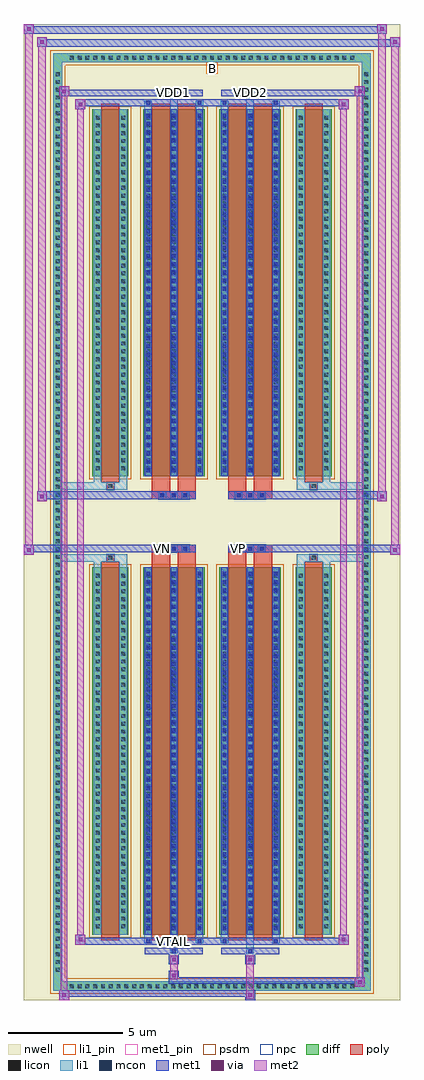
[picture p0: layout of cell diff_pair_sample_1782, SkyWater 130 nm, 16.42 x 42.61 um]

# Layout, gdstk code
import gdstk
lib = gdstk.Library(unit=1e-6, precision=5e-09)
def R(c, l, rs):  # rectangles x0, y0, x1, y1
    for r in rs: c.add(gdstk.rectangle(r[:2], r[2:], *l))
def A(c, l, x, y, w, h, nx, ny, dx, dy):  # array of equal rectangles
    R(c, l, [(x+i*dx, y+j*dy, x+i*dx+w, y+j*dy+h) for i in range(nx) for j in range(ny)])
def P(c, l, *ps):  # polygons
    for p in ps: c.add(gdstk.Polygon(p, *l))
nwell = (64, 20)
diff = (65, 20)
poly = (66, 20)
licon = (66, 44)
li1_pin = (67, 16)
li1 = (67, 20)
mcon = (67, 44)
met1_pin = (68, 16)
met1 = (68, 20)
via = (68, 44)
met2 = (69, 20)
psdm = (94, 20)
npc = (95, 20)

diff_pair_sample_1782 = lib.new_cell('diff_pair_sample_1782')
R(diff_pair_sample_1782, nwell, [(-8.21,-20.87,8.21,21.74), (-5.53,-19.06,-0.01,-0.8), (0.01,-19.06,5.53,-0.8), (-5.53,0.8,-0.01,19.06), (0.01,0.8,5.53,19.06)])
A(diff_pair_sample_1782, diff, -6.325, -20.47, 0.41, 0.41, 37, 2, 0.34, 40.53)
A(diff_pair_sample_1782, diff, -6.94, -19.755, 0.41, 0.41, 1, 116, 0, 0.34)
A(diff_pair_sample_1782, diff, 6.53, -19.755, 0.41, 0.41, 1, 116, 0, 0.34)
R(diff_pair_sample_1782, diff, [(-6.325,-20.47,6.325,-20.06), (-6.94,-19.755,-6.53,19.755), (6.53,-19.755,6.94,19.755), (-5.22,-18.015,-3.65,-1.985), (-3.01,-18.015,-0.32,-1.985), (0.32,-18.015,3.01,-1.985), (3.65,-18.015,5.22,-1.985), (-5.22,1.985,-3.65,18.015), (-3.01,1.985,-0.32,18.015), (0.32,1.985,3.01,18.015), (3.65,1.985,5.22,18.015), (-6.325,20.06,6.325,20.47)])
P(diff_pair_sample_1782, diff, [(6.94,20.47),(-6.94,20.47),(-6.94,-20.06),(-6.53,-20.06),(-6.53,20.06),(6.53,20.06),(6.53,-20.06),(-6.53,-20.06),(-6.94,-20.06),(-6.94,-20.47),(6.94,-20.47)])
A(diff_pair_sample_1782, poly, -2.33, -1.33, 0.33, 0.33, 3, 2, 0.5, 2.33)
A(diff_pair_sample_1782, poly, 1, -1.33, 0.33, 0.33, 3, 2, 0.5, 2.33)
R(diff_pair_sample_1782, poly, [(-4.83,-18.265,-4.04,-1.735), (-2.62,-18.265,-1.83,-1.735), (-1.5,-18.265,-0.71,-1.735), (0.71,-18.265,1.5,-1.735), (1.83,-18.265,2.62,-1.735), (4.04,-18.265,4.83,-1.735), (-4.6,-1.735,-4.27,-1.405), (-4.6,-1.735,-4.27,-1.405), (-2.62,-1.735,-1.83,-1.33), (-1.5,-1.735,-0.71,-1.33), (0.71,-1.735,1.5,-1.33), (1.83,-1.735,2.62,-1.33), (4.27,-1.735,4.6,-1.405), (4.27,-1.735,4.6,-1.405), (-2.62,-1.33,-0.71,-1), (0.71,-1.33,2.62,-1), (-2.62,1,-0.71,1.33), (0.71,1,2.62,1.33), (-2.62,1.33,-1.83,1.735), (-1.5,1.33,-0.71,1.735), (0.71,1.33,1.5,1.735), (1.83,1.33,2.62,1.735), (-4.6,1.405,-4.27,1.735), (-4.6,1.405,-4.27,1.735), (4.27,1.405,4.6,1.735), (4.27,1.405,4.6,1.735), (-4.83,1.735,-4.04,18.265), (-2.62,1.735,-1.83,18.265), (-1.5,1.735,-0.71,18.265), (0.71,1.735,1.5,18.265), (1.83,1.735,2.62,18.265), (4.04,1.735,4.83,18.265)])
A(diff_pair_sample_1782, licon, -6.205, -20.35, 0.17, 0.17, 37, 2, 0.34, 40.53)
A(diff_pair_sample_1782, licon, -6.82, -19.635, 0.17, 0.17, 1, 116, 0, 0.34)
A(diff_pair_sample_1782, licon, 6.65, -19.635, 0.17, 0.17, 1, 116, 0, 0.34)
A(diff_pair_sample_1782, licon, -5.08, -17.735, 0.17, 0.17, 1, 46, 0, 0.34)
A(diff_pair_sample_1782, licon, -3.96, -17.735, 0.17, 0.17, 1, 46, 0, 0.34)
A(diff_pair_sample_1782, licon, -2.87, -17.735, 0.17, 0.17, 3, 46, 1.12, 0.34)
A(diff_pair_sample_1782, licon, 0.46, -17.735, 0.17, 0.17, 3, 46, 1.12, 0.34)
A(diff_pair_sample_1782, licon, 3.79, -17.735, 0.17, 0.17, 1, 46, 0, 0.34)
A(diff_pair_sample_1782, licon, 4.91, -17.735, 0.17, 0.17, 1, 46, 0, 0.34)
A(diff_pair_sample_1782, licon, -2.25, -1.25, 0.17, 0.17, 3, 2, 0.5, 2.33)
A(diff_pair_sample_1782, licon, 1.08, -1.25, 0.17, 0.17, 3, 2, 0.5, 2.33)
A(diff_pair_sample_1782, licon, -5.08, 2.265, 0.17, 0.17, 1, 46, 0, 0.34)
A(diff_pair_sample_1782, licon, -3.96, 2.265, 0.17, 0.17, 1, 46, 0, 0.34)
A(diff_pair_sample_1782, licon, -2.87, 2.265, 0.17, 0.17, 3, 46, 1.12, 0.34)
A(diff_pair_sample_1782, licon, 0.46, 2.265, 0.17, 0.17, 3, 46, 1.12, 0.34)
A(diff_pair_sample_1782, licon, 3.79, 2.265, 0.17, 0.17, 1, 46, 0, 0.34)
A(diff_pair_sample_1782, licon, 4.91, 2.265, 0.17, 0.17, 1, 46, 0, 0.34)
R(diff_pair_sample_1782, licon, [(-4.52,-1.655,-4.35,-1.485), (4.35,-1.655,4.52,-1.485), (-4.52,1.485,-4.35,1.655), (4.35,1.485,4.52,1.655)])
R(diff_pair_sample_1782, li1_pin, [(-0.25,19.56,0.25,20.06)])
A(diff_pair_sample_1782, li1, -6.285, -20.43, 0.33, 0.33, 37, 2, 0.34, 40.53)
A(diff_pair_sample_1782, li1, -6.9, -19.715, 0.33, 0.33, 1, 116, 0, 0.34)
A(diff_pair_sample_1782, li1, 6.57, -19.715, 0.33, 0.33, 1, 116, 0, 0.34)
A(diff_pair_sample_1782, li1, -2.95, -18.015, 0.33, 16.03, 3, 2, 1.12, 20)
A(diff_pair_sample_1782, li1, 0.38, -18.015, 0.33, 16.03, 3, 2, 1.12, 20)
A(diff_pair_sample_1782, li1, -2.87, -17.825, 0.17, 0.17, 3, 44, 1.12, 0.36)
A(diff_pair_sample_1782, li1, -2.87, -17.825, 0.17, 15.65, 3, 2, 1.12, 20)
A(diff_pair_sample_1782, li1, 0.46, -17.825, 0.17, 0.17, 3, 44, 1.12, 0.36)
A(diff_pair_sample_1782, li1, 0.46, -17.825, 0.17, 15.65, 3, 2, 1.12, 20)
A(diff_pair_sample_1782, li1, -5.16, -17.815, 0.33, 0.33, 1, 46, 0, 0.34)
A(diff_pair_sample_1782, li1, -4.04, -17.815, 0.33, 0.33, 1, 46, 0, 0.34)
A(diff_pair_sample_1782, li1, -2.95, -17.815, 0.33, 0.33, 3, 46, 1.12, 0.34)
A(diff_pair_sample_1782, li1, 0.38, -17.815, 0.33, 0.33, 3, 46, 1.12, 0.34)
A(diff_pair_sample_1782, li1, 3.71, -17.815, 0.33, 0.33, 1, 46, 0, 0.34)
A(diff_pair_sample_1782, li1, 4.83, -17.815, 0.33, 0.33, 1, 46, 0, 0.34)
A(diff_pair_sample_1782, li1, -2.33, -1.33, 0.33, 0.33, 3, 2, 0.5, 2.33)
A(diff_pair_sample_1782, li1, 1, -1.33, 0.33, 0.33, 3, 2, 0.5, 2.33)
A(diff_pair_sample_1782, li1, -2.87, 2.175, 0.17, 0.17, 3, 44, 1.12, 0.36)
A(diff_pair_sample_1782, li1, 0.46, 2.175, 0.17, 0.17, 3, 44, 1.12, 0.36)
A(diff_pair_sample_1782, li1, -5.16, 2.185, 0.33, 0.33, 1, 46, 0, 0.34)
A(diff_pair_sample_1782, li1, -4.04, 2.185, 0.33, 0.33, 1, 46, 0, 0.34)
A(diff_pair_sample_1782, li1, -2.95, 2.185, 0.33, 0.33, 3, 46, 1.12, 0.34)
A(diff_pair_sample_1782, li1, 0.38, 2.185, 0.33, 0.33, 3, 46, 1.12, 0.34)
A(diff_pair_sample_1782, li1, 3.71, 2.185, 0.33, 0.33, 1, 46, 0, 0.34)
A(diff_pair_sample_1782, li1, 4.83, 2.185, 0.33, 0.33, 1, 46, 0, 0.34)
R(diff_pair_sample_1782, li1, [(-6.94,-20.47,-6.53,-20.06), (-6.94,-20.47,-6.53,-20.06), (-6.53,-20.47,6.53,-20.06), (6.53,-20.47,6.94,-20.06), (6.53,-20.47,6.94,-20.06), (-6.94,-20.06,-6.53,20.06), (6.53,-20.06,6.94,20.06), (-1.83,-18.82,-1.5,-18.015), (-1.75,-18.82,-1.58,-18.65), (1.5,-18.82,1.83,-18.015), (1.58,-18.82,1.75,-18.65), (-2.95,-18.39,-2.62,-18.015), (-2.87,-18.39,-2.7,-18.22), (-0.71,-18.39,-0.38,-18.015), (-0.63,-18.39,-0.46,-18.22), (0.38,-18.39,0.71,-18.015), (0.46,-18.39,0.63,-18.22), (2.62,-18.39,2.95,-18.015), (2.7,-18.39,2.87,-18.22), (-5.16,-18.015,-4.83,-1.985), (-4.04,-18.015,-3.71,-1.985), (3.71,-18.015,4.04,-1.985), (4.83,-18.015,5.16,-1.985), (-5.16,-1.985,-4.83,-1.405), (-4.04,-1.985,-3.71,-1.405), (3.71,-1.985,4.04,-1.405), (4.83,-1.985,5.16,-1.405), (-6.94,-1.735,-4.6,-1.405), (-5.16,-1.735,-4.6,-1.405), (-4.6,-1.735,-4.27,-1.405), (-4.27,-1.735,-3.71,-1.405), (3.71,-1.735,4.27,-1.405), (4.27,-1.735,4.6,-1.405), (4.27,-1.735,6.94,-1.405), (4.6,-1.735,5.16,-1.405), (-6.94,1.405,-4.6,1.735), (-5.16,1.405,-4.6,1.735), (-5.16,1.405,-4.83,1.985), (-4.6,1.405,-4.27,1.735), (-4.27,1.405,-3.71,1.735), (-4.04,1.405,-3.71,1.985), (3.71,1.405,4.27,1.735), (3.71,1.405,4.04,1.985), (4.27,1.405,4.6,1.735), (4.27,1.405,6.94,1.735), (4.6,1.405,5.16,1.735), (4.83,1.405,5.16,1.985), (-5.16,1.985,-4.83,18.015), (-4.04,1.985,-3.71,18.015), (3.71,1.985,4.04,18.015), (4.83,1.985,5.16,18.015), (-2.95,18.015,-2.62,18.39), (-1.83,18.015,-1.5,18.82), (-0.71,18.015,-0.38,18.39), (0.38,18.015,0.71,18.39), (1.5,18.015,1.83,18.82), (2.62,18.015,2.95,18.39), (-2.87,18.22,-2.7,18.39), (-0.63,18.22,-0.46,18.39), (0.46,18.22,0.63,18.39), (2.7,18.22,2.87,18.39), (-1.75,18.65,-1.58,18.82), (1.58,18.65,1.75,18.82), (-6.94,20.06,-6.53,20.47), (-6.94,20.06,-6.53,20.47), (-6.53,20.06,6.53,20.47), (6.53,20.06,6.94,20.47), (6.53,20.06,6.94,20.47)])
A(diff_pair_sample_1782, mcon, -2.87, -17.825, 0.17, 0.17, 3, 44, 1.12, 0.36)
A(diff_pair_sample_1782, mcon, 0.46, -17.825, 0.17, 0.17, 3, 44, 1.12, 0.36)
A(diff_pair_sample_1782, mcon, -2.25, -1.25, 0.17, 0.17, 3, 2, 0.5, 2.33)
A(diff_pair_sample_1782, mcon, 1.08, -1.25, 0.17, 0.17, 3, 2, 0.5, 2.33)
A(diff_pair_sample_1782, mcon, -2.87, 2.175, 0.17, 0.17, 3, 44, 1.12, 0.36)
A(diff_pair_sample_1782, mcon, 0.46, 2.175, 0.17, 0.17, 3, 44, 1.12, 0.36)
R(diff_pair_sample_1782, mcon, [(-1.75,-18.82,-1.58,-18.65), (1.58,-18.82,1.75,-18.65), (-2.87,-18.39,-2.7,-18.22), (-0.63,-18.39,-0.46,-18.22), (0.46,-18.39,0.63,-18.22), (2.7,-18.39,2.87,-18.22), (-2.87,18.22,-2.7,18.39), (-0.63,18.22,-0.46,18.39), (0.46,18.22,0.63,18.39), (2.7,18.22,2.87,18.39), (-1.75,18.65,-1.58,18.82), (1.58,18.65,1.75,18.82)])
R(diff_pair_sample_1782, met1_pin, [(-1.8,-18.43,-1.53,-18.16), (-2.3,-1.29,-2.03,-1.02), (1.03,-1.29,1.3,-1.02), (-1.8,18.61,-1.53,18.88), (1.53,18.61,1.8,18.88)])
A(diff_pair_sample_1782, met1, -2.93, -18.015, 0.29, 16.03, 3, 2, 1.12, 20)
A(diff_pair_sample_1782, met1, 0.4, -18.015, 0.29, 16.03, 3, 2, 1.12, 20)
A(diff_pair_sample_1782, met1, -2.93, -17.885, 0.29, 0.29, 3, 44, 1.12, 0.36)
A(diff_pair_sample_1782, met1, 0.4, -17.885, 0.29, 0.29, 3, 44, 1.12, 0.36)
A(diff_pair_sample_1782, met1, -2.31, -1.31, 0.29, 0.29, 3, 2, 0.5, 2.33)
A(diff_pair_sample_1782, met1, 1.02, -1.31, 0.29, 0.29, 3, 2, 0.5, 2.33)
A(diff_pair_sample_1782, met1, -2.93, 2.115, 0.29, 0.29, 3, 44, 1.12, 0.36)
A(diff_pair_sample_1782, met1, 0.4, 2.115, 0.29, 0.29, 3, 44, 1.12, 0.36)
R(diff_pair_sample_1782, met1, [(-6.67,-20.87,-6.24,-20.44), (1.45,-20.87,1.88,-20.44), (-6.67,-20.73,1.88,-20.44), (6.24,-20.3,6.67,-19.87), (-1.88,-20.16,6.67,-19.87), (-1.88,-20.02,-1.45,-19.59), (-1.88,-19.31,-1.45,-18.88), (1.45,-19.31,1.88,-18.88), (-2.93,-18.88,-0.4,-18.59), (-1.81,-18.88,-1.52,-18.59), (0.4,-18.88,2.93,-18.59), (1.52,-18.88,1.81,-18.59), (-5.96,-18.45,-5.53,-18.02), (-5.96,-18.45,-2.93,-18.16), (-2.93,-18.45,-2.64,-18.16), (-2.93,-18.45,-0.4,-18.16), (-0.69,-18.45,-0.4,-18.16), (-0.4,-18.45,0.4,-18.16), (0.4,-18.45,0.69,-18.16), (0.4,-18.45,2.93,-18.16), (2.64,-18.45,2.93,-18.16), (2.93,-18.45,5.96,-18.16), (5.53,-18.45,5.96,-18.02), (-8.21,-1.43,-7.78,-1), (7.78,-1.43,8.21,-1), (-8.21,-1.33,-0.71,-1), (-2.62,-1.33,-0.71,-1), (0.71,-1.33,2.62,-1), (0.71,-1.33,8.21,-1), (-7.64,0.9,-7.21,1.33), (7.21,0.9,7.64,1.33), (-7.64,1,-2.62,1.33), (-2.62,1,-0.71,1.33), (0.71,1,2.62,1.33), (2.62,1,7.64,1.33), (-5.96,18.02,-5.53,18.45), (5.53,18.02,5.96,18.45), (-5.96,18.16,-2.93,18.45), (-2.93,18.16,-2.64,18.45), (-2.93,18.16,-0.4,18.45), (-0.69,18.16,-0.4,18.45), (-0.4,18.16,0.4,18.45), (0.4,18.16,0.69,18.45), (0.4,18.16,2.93,18.45), (2.64,18.16,2.93,18.45), (2.93,18.16,5.96,18.45), (-6.67,18.59,-6.24,19.02), (-6.67,18.59,-2.93,18.88), (-2.93,18.59,-0.4,18.88), (-1.81,18.59,-1.52,18.88), (0.4,18.59,2.93,18.88), (1.52,18.59,1.81,18.88), (2.93,18.59,6.67,18.88), (6.24,18.59,6.67,19.02), (-7.64,20.74,-7.21,21.17), (-7.64,20.74,-5.53,21.07), (-5.53,20.74,5.53,21.07), (5.53,20.74,8.21,21.07), (7.78,20.74,8.21,21.17), (-8.21,21.31,-7.78,21.74), (-8.21,21.31,-5.53,21.64), (-5.53,21.31,5.53,21.64), (5.53,21.31,7.64,21.64), (7.21,21.31,7.64,21.74)])
R(diff_pair_sample_1782, via, [(-6.53,-20.73,-6.38,-20.58), (1.59,-20.73,1.74,-20.58), (6.38,-20.16,6.53,-20.01), (-1.74,-19.88,-1.59,-19.73), (-1.74,-19.17,-1.59,-19.02), (1.59,-19.17,1.74,-19.02), (-5.82,-18.31,-5.67,-18.16), (5.67,-18.31,5.82,-18.16), (-8.07,-1.29,-7.92,-1.14), (7.92,-1.29,8.07,-1.14), (-7.5,1.04,-7.35,1.19), (7.35,1.04,7.5,1.19), (-5.82,18.16,-5.67,18.31), (5.67,18.16,5.82,18.31), (-6.53,18.73,-6.38,18.88), (6.38,18.73,6.53,18.88), (-7.5,20.88,-7.35,21.03), (7.92,20.88,8.07,21.03), (-8.07,21.45,-7.92,21.6), (7.35,21.45,7.5,21.6)])
R(diff_pair_sample_1782, met2, [(-6.67,-20.87,-6.24,-20.44), (-6.6,-20.87,-6.31,19.02), (-6.31,-20.87,-6.24,-20.44), (-6.62,-20.82,-6.29,-20.49), (1.5,-20.82,1.83,-20.49), (1.5,-20.49,1.83,-19.26), (6.24,-20.3,6.67,-19.87), (6.31,-20.3,6.6,19.02), (6.6,-20.3,6.67,-19.87), (6.29,-20.25,6.62,-19.92), (-1.83,-19.97,-1.5,-19.64), (-1.83,-19.64,-1.5,-19.26), (-1.83,-19.26,-1.5,-18.93), (1.5,-19.26,1.83,-18.93), (-5.96,-18.45,-5.53,-18.02), (-5.89,-18.45,-5.6,18.45), (-5.6,-18.45,-5.53,-18.02), (5.53,-18.45,5.96,-18.02), (5.6,-18.45,5.89,18.45), (5.89,-18.45,5.96,-18.02), (-5.91,-18.4,-5.58,-18.07), (5.58,-18.4,5.91,-18.07), (-8.21,-1.43,-7.78,-1), (-8.16,-1.43,-7.83,21.74), (-7.83,-1.43,-7.78,-1), (7.78,-1.43,8.21,-1), (7.83,-1.43,8.16,21.17), (8.16,-1.43,8.21,-1), (-8.16,-1.38,-7.83,-1.05), (7.83,-1.38,8.16,-1.05), (-7.64,0.9,-7.21,1.33), (-7.59,0.9,-7.26,21.17), (-7.26,0.9,-7.21,1.33), (7.21,0.9,7.64,1.33), (7.26,0.9,7.59,21.74), (7.59,0.9,7.64,1.33), (-7.59,0.95,-7.26,1.28), (7.26,0.95,7.59,1.28), (-5.96,18.02,-5.53,18.45), (-5.6,18.02,-5.53,18.45), (5.53,18.02,5.96,18.45), (5.89,18.02,5.96,18.45), (-5.91,18.07,-5.58,18.4), (5.58,18.07,5.91,18.4), (-6.67,18.59,-6.24,19.02), (-6.31,18.59,-6.24,19.02), (6.24,18.59,6.67,19.02), (6.6,18.59,6.67,19.02), (-6.62,18.64,-6.29,18.97), (6.29,18.64,6.62,18.97), (-7.64,20.74,-7.21,21.17), (-7.26,20.74,-7.21,21.17), (7.78,20.74,8.21,21.17), (8.16,20.74,8.21,21.17), (-7.59,20.79,-7.26,21.12), (7.83,20.79,8.16,21.12), (-8.21,21.31,-7.78,21.74), (-7.83,21.31,-7.78,21.74), (7.21,21.31,7.64,21.74), (7.59,21.31,7.64,21.74), (-8.16,21.36,-7.83,21.69), (7.26,21.36,7.59,21.69)])
R(diff_pair_sample_1782, psdm, [(-5.35,-18.145,-3.52,-1.855), (-3.14,-18.145,-0.19,-1.855), (0.19,-18.145,3.14,-1.855), (3.52,-18.145,5.35,-1.855), (-5.35,1.855,-3.52,18.145), (-3.14,1.855,-0.19,18.145), (0.19,1.855,3.14,18.145), (3.52,1.855,5.35,18.145)])
P(diff_pair_sample_1782, psdm, [(7.07,20.6),(-7.07,20.6),(-7.07,-19.93),(-6.4,-19.93),(-6.4,19.93),(6.4,19.93),(6.4,-19.93),(-6.4,-19.93),(-7.07,-19.93),(-7.07,-20.6),(7.07,-20.6)])
A(diff_pair_sample_1782, npc, -2.35, -1.35, 0.37, 0.37, 3, 2, 0.5, 2.33)
A(diff_pair_sample_1782, npc, 0.98, -1.35, 0.37, 0.37, 3, 2, 0.5, 2.33)
R(diff_pair_sample_1782, npc, [(-4.62,-1.755,-4.25,-1.385), (4.25,-1.755,4.62,-1.385), (-2.35,-1.35,-1.48,-0.98), (-2.35,-1.35,-1.48,-0.98), (-1.85,-1.35,-0.98,-0.98), (-1.85,-1.35,-0.98,-0.98), (0.98,-1.35,1.85,-0.98), (0.98,-1.35,1.85,-0.98), (1.48,-1.35,2.35,-0.98), (1.48,-1.35,2.35,-0.98), (-2.35,0.98,-1.48,1.35), (-2.35,0.98,-1.48,1.35), (-1.85,0.98,-0.98,1.35), (-1.85,0.98,-0.98,1.35), (0.98,0.98,1.85,1.35), (0.98,0.98,1.85,1.35), (1.48,0.98,2.35,1.35), (1.48,0.98,2.35,1.35), (-4.62,1.385,-4.25,1.755), (4.25,1.385,4.62,1.755)])
diff_pair_sample_1782.add(gdstk.Label('VTAIL', (-1.665,-18.295), layer=68, texttype=5))
diff_pair_sample_1782.add(gdstk.Label('VN', (-2.165,-1.155), layer=68, texttype=5))
diff_pair_sample_1782.add(gdstk.Label('VP', (1.165,-1.155), layer=68, texttype=5))
diff_pair_sample_1782.add(gdstk.Label('B', (0,19.81), layer=67, texttype=5))
diff_pair_sample_1782.add(gdstk.Label('VDD2', (1.665,18.745), layer=68, texttype=5))
diff_pair_sample_1782.add(gdstk.Label('VDD1', (-1.665,18.745), layer=68, texttype=5))

lib.write_gds('diff_pair_sample_1782.gds')
